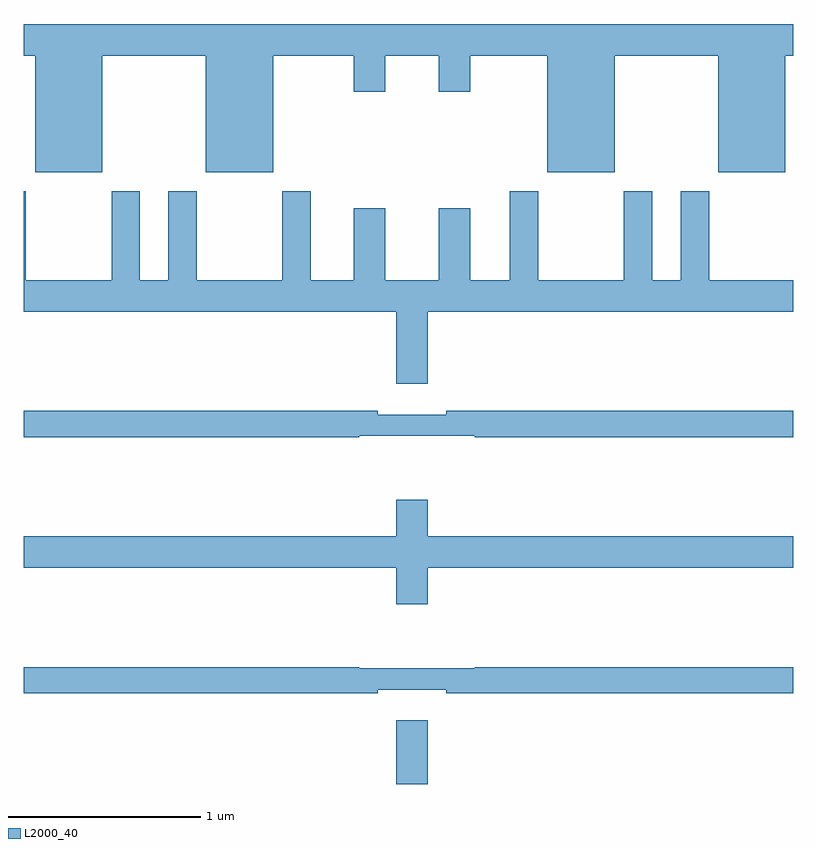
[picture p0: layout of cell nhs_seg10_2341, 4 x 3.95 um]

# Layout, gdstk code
import gdstk
lib = gdstk.Library(unit=1e-6, precision=1e-09)
def R(c, l, rs):  # rectangles x0, y0, x1, y1
    for r in rs: c.add(gdstk.rectangle(r[:2], r[2:], *l))
def P(c, l, *ps):  # polygons
    for p in ps: c.add(gdstk.Polygon(p, *l))
L2000_40 = (2000, 40)

nhs_seg10_2341 = lib.new_cell('nhs_seg10_2341')
R(nhs_seg10_2341, L2000_40, [(236.936,1324.5,237.1,1324.831)])
P(nhs_seg10_2341, L2000_40, [(235.408,1328.288),(235.946,1328.288),(235.946,1327.682),(236.296,1327.682),(236.296,1328.288),(236.714,1328.288),(236.714,1328.1),(236.878,1328.1),(236.878,1328.288),(237.158,1328.288),(237.158,1328.1),(237.322,1328.1),(237.322,1328.288),(237.722,1328.288),(237.722,1327.682),(238.072,1327.682),(238.072,1328.288),(238.61,1328.288),(238.61,1327.682),(238.96,1327.682),(238.96,1328.288),(239,1328.288),(239,1328.452),(235,1328.452),(235,1328.288),(235.058,1328.288),(235.058,1327.682),(235.408,1327.682)],
  [(235,1327.582),(235,1326.956),(236.936,1326.956),(236.936,1326.582),(237.1,1326.582),(237.1,1326.956),(239,1326.956),(239,1327.12),(238.563,1327.12),(238.563,1327.582),(238.415,1327.582),(238.415,1327.12),(238.267,1327.12),(238.267,1327.582),(238.12,1327.582),(238.12,1327.12),(237.675,1327.12),(237.675,1327.582),(237.527,1327.582),(237.527,1327.12),(237.322,1327.12),(237.322,1327.495),(237.158,1327.495),(237.158,1327.12),(236.878,1327.12),(236.878,1327.495),(236.714,1327.495),(236.714,1327.12),(236.491,1327.12),(236.491,1327.582),(236.344,1327.582),(236.344,1327.12),(235.899,1327.12),(235.899,1327.582),(235.751,1327.582),(235.751,1327.12),(235.603,1327.12),(235.603,1327.582),(235.456,1327.582),(235.456,1327.12),(235.011,1327.12),(235.011,1327.582)],
  [(236.745,1326.312),(237.345,1326.312),(237.345,1326.304),(239,1326.304),(239,1326.44),(237.196,1326.44),(237.196,1326.421),(236.84,1326.421),(236.84,1326.44),(235,1326.44),(235,1326.304),(236.745,1326.304)],
  [(237.1,1325.624),(239,1325.624),(239,1325.788),(237.1,1325.788),(237.1,1325.977),(236.936,1325.977),(236.936,1325.788),(235,1325.788),(235,1325.624),(236.936,1325.624),(236.936,1325.436),(237.1,1325.436)],
  [(236.84,1324.991),(237.196,1324.991),(237.196,1324.972),(239,1324.972),(239,1325.108),(237.345,1325.108),(237.345,1325.101),(236.745,1325.101),(236.745,1325.108),(235,1325.108),(235,1324.972),(236.84,1324.972)])

lib.write_gds('nhs_seg10_2341.gds')
